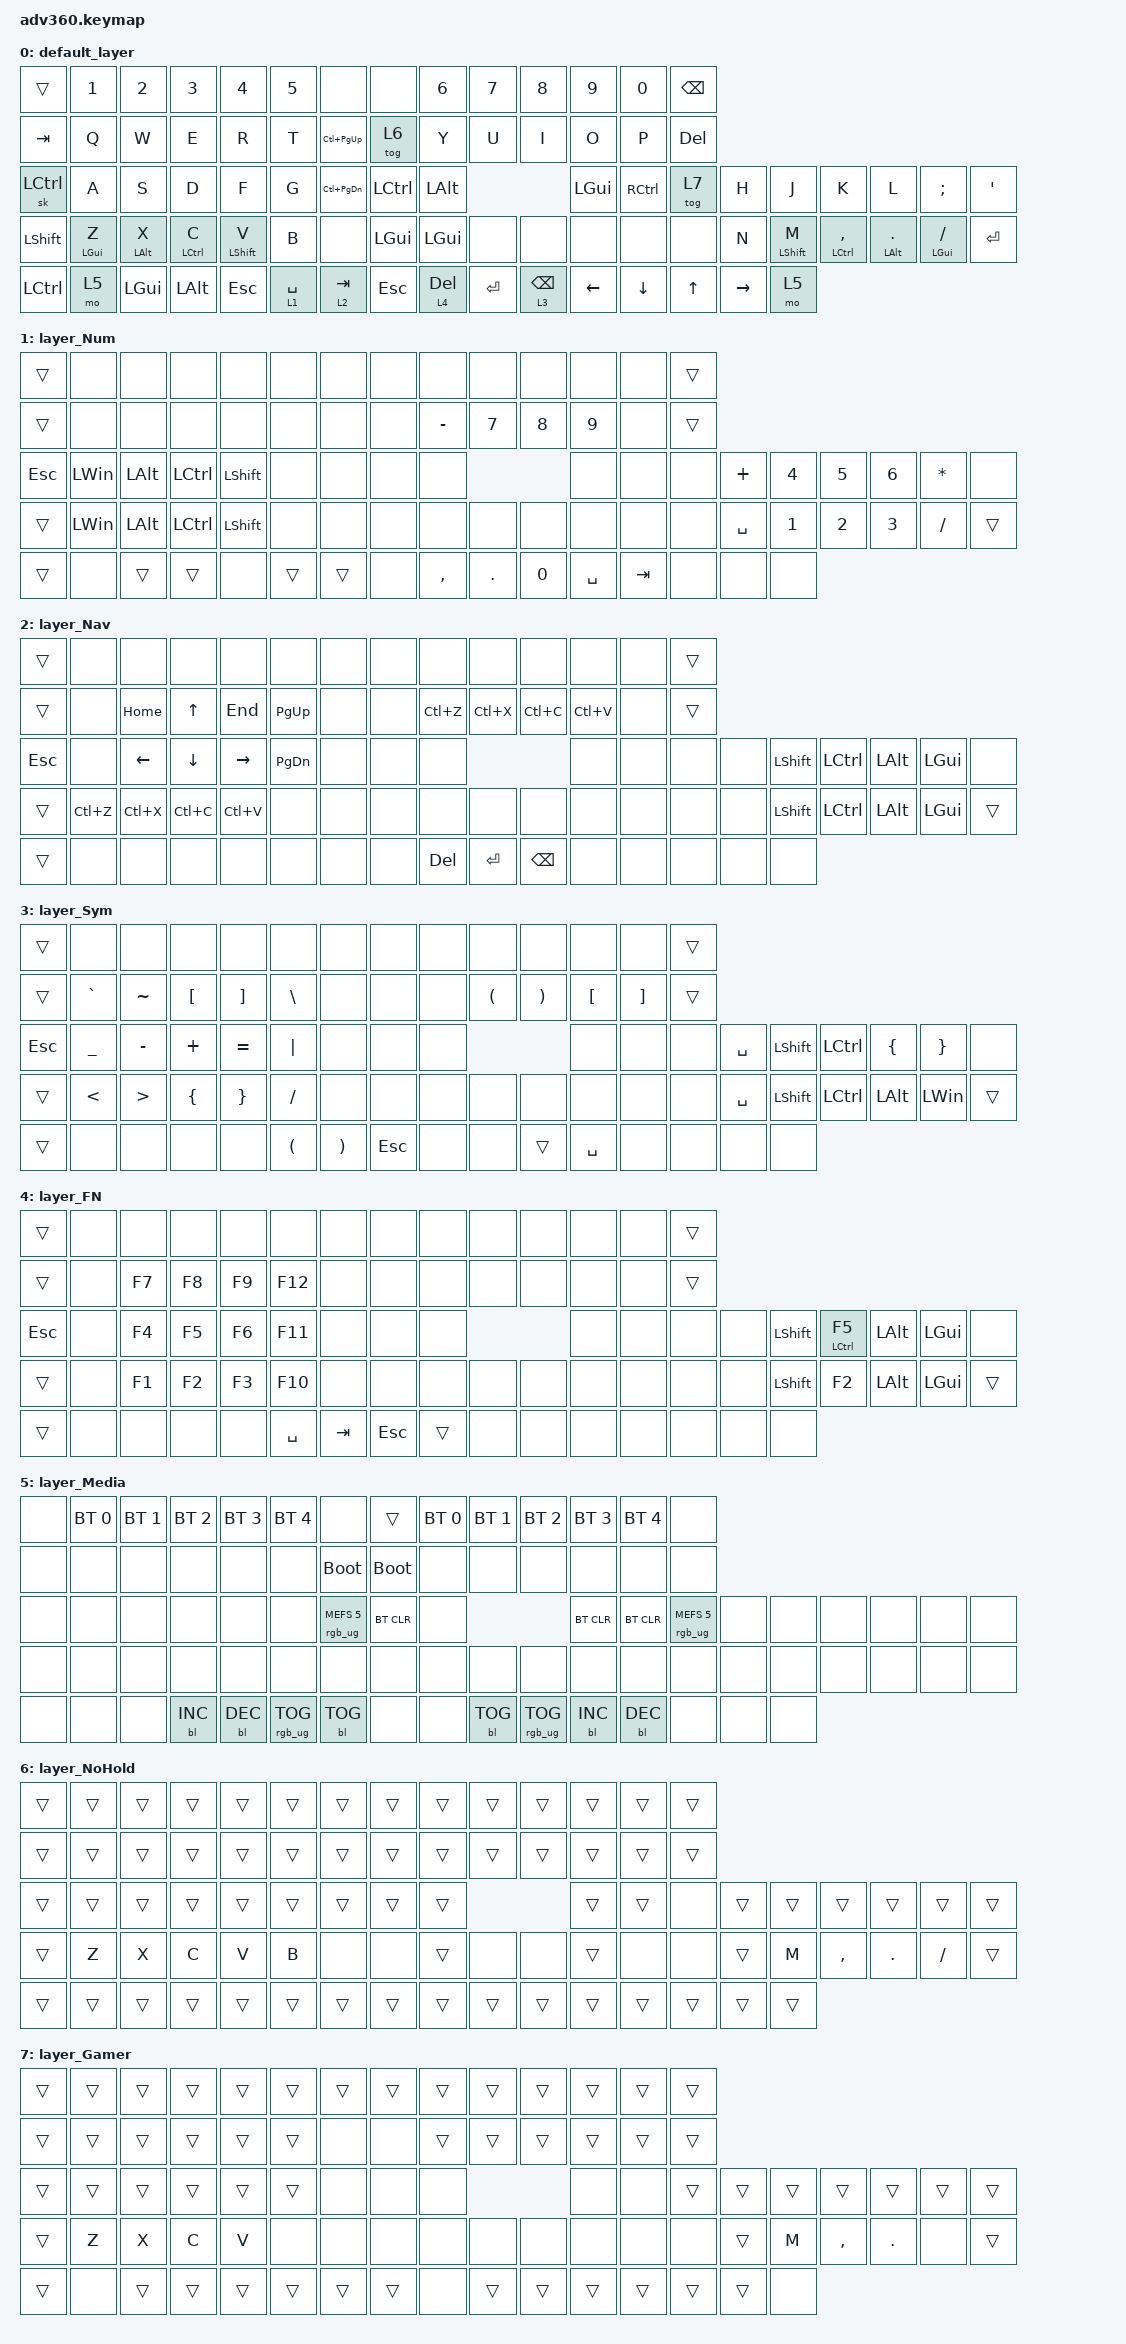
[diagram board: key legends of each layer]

/*
 * Copyright (c) 2020 The ZMK Contributors
 *
 * SPDX-License-Identifier: MIT
 */


/* THIS FILE WAS GENERATED!
 *
 * This file was generated automatically. You may or may not want to
 * edit it directly.
 */

#include <behaviors.dtsi>
#include <dt-bindings/zmk/keys.h>
#include <dt-bindings/zmk/bt.h>
#include <dt-bindings/zmk/rgb.h>
#include <dt-bindings/zmk/backlight.h>

/ {
  behaviors {
    #include "macros.dtsi"

    hm: homerow_mods {
        compatible = "zmk,behavior-hold-tap";
        label = "HOMEROW_MODS";
        #binding-cells = <2>;
        tapping-term-ms = <300>;
        quick-tap-ms = <0>;
        flavor = "tap-preferred";
        bindings = <&kp>, <&kp>;
      };
    };

    keymap {
        compatible = "zmk,keymap";


        default_layer {
            bindings = <
    &trans          &kp N1          &kp N2              &kp N3            &kp N4       &kp N5                    &none      &none        &kp N6     &kp N7           &kp N8    &kp N9     &kp N0  &kp BACKSPACE
   &kp TAB           &kp Q           &kp W               &kp E             &kp R        &kp T            &kp LC(PG_UP)     &tog 6         &kp Y      &kp U            &kp I     &kp O      &kp P        &kp DEL
 &sk LCTRL           &kp A           &kp S               &kp D             &kp F        &kp G            &kp LC(PG_DN)  &kp LCTRL      &kp LALT                              &kp LGUI  &kp RCTRL         &tog 7      &kp H             &kp J            &kp K                &kp L            &kp SEMI    &kp SQT
 &kp LSHFT  &hm LEFT_GUI Z  &hm LEFT_ALT X  &hm LEFT_CONTROL C  &hm LEFT_SHIFT V        &kp B                    &none   &kp LGUI  &kp LEFT_GUI      &none            &none     &none      &none          &none      &kp N  &hm LEFT_SHIFT M  &hm LCTRL COMMA  &hm LEFT_ALT PERIOD  &hm LEFT_GUI SLASH  &kp ENTER
 &kp LCTRL           &mo 5    &kp LEFT_GUI        &kp LEFT_ALT           &kp ESC  &lt 1 SPACE                &lt 2 TAB    &kp ESC     &lt 4 DEL  &kp ENTER  &lt 3 BACKSPACE  &kp LEFT   &kp DOWN         &kp UP  &kp RIGHT             &mo 5
            >;
        };

        layer_Num {
            bindings = <
  &trans         &none         &none      &none       &none   &none             &none   &none      &none       &none   &none      &none    &none  &trans
  &trans         &none         &none      &none       &none   &none             &none   &none  &kp MINUS      &kp N7  &kp N8     &kp N9    &none  &trans
 &kp ESC  &kp LEFT_WIN      &kp LALT  &kp LCTRL  &kp LSHIFT   &none             &none   &none      &none                          &none    &none   &none   &kp PLUS  &kp N4  &kp N5  &kp N6  &kp ASTERISK   &none
  &trans  &kp LEFT_WIN  &kp LEFT_ALT  &kp LCTRL  &kp LSHIFT   &none             &none   &none      &none       &none   &none      &none    &none   &none  &kp SPACE  &kp N1  &kp N2  &kp N3     &kp SLASH  &trans
  &trans         &none        &trans     &trans       &none  &trans            &trans   &none  &kp COMMA  &kp PERIOD  &kp N0  &kp SPACE  &kp TAB   &none      &none   &none
            >;
        };

        layer_Nav {
            bindings = <
  &trans      &none      &none      &none      &none          &none            &none   &none       &none      &none          &none      &none   &none  &trans
  &trans      &none   &kp HOME     &kp UP    &kp END      &kp PG_UP            &none   &none   &kp LC(Z)  &kp LC(X)      &kp LC(C)  &kp LC(V)   &none  &trans
 &kp ESC      &none   &kp LEFT   &kp DOWN  &kp RIGHT  &kp PAGE_DOWN            &none   &none       &none                                &none   &none   &none   &none  &kp LSHIFT  &kp LCTRL  &kp LALT  &kp LGUI   &none
  &trans  &kp LC(Z)  &kp LC(X)  &kp LC(C)  &kp LC(V)          &none            &none   &none       &none      &none          &none      &none   &none   &none   &none  &kp LSHIFT  &kp LCTRL  &kp LALT  &kp LGUI  &trans
  &trans      &none      &none      &none      &none          &none            &none   &none  &kp DELETE  &kp ENTER  &kp BACKSPACE      &none   &none   &none   &none       &none
            >;
        };

        layer_Sym {
            bindings = <
  &trans           &none      &none             &none              &none                 &none                            &none    &none   &none                 &none                  &none             &none              &none  &trans
  &trans       &kp GRAVE  &kp TILDE  &kp LEFT_BRACKET  &kp RIGHT_BRACKET         &kp BACKSLASH                            &none    &none   &none  &kp LEFT_PARENTHESIS  &kp RIGHT_PARENTHESIS  &kp LEFT_BRACKET  &kp RIGHT_BRACKET  &trans
 &kp ESC  &kp UNDERSCORE  &kp MINUS          &kp PLUS          &kp EQUAL              &kp PIPE                            &none    &none   &none                                                          &none              &none   &none  &kp SPACE  &kp LEFT_SHIFT  &kp LCTRL  &kp LEFT_BRACE  &kp RIGHT_BRACE   &none
  &trans   &kp LESS_THAN     &kp GT    &kp LEFT_BRACE    &kp RIGHT_BRACE             &kp SLASH                            &none    &none   &none                 &none                  &none             &none              &none   &none  &kp SPACE  &kp LEFT_SHIFT  &kp LCTRL        &kp LALT         &kp LWIN  &trans
  &trans           &none      &none             &none              &none  &kp LEFT_PARENTHESIS            &kp RIGHT_PARENTHESIS  &kp ESC   &none                 &none                 &trans         &kp SPACE              &none   &none      &none           &none
            >;
        };

        layer_FN {
            bindings = <
  &trans   &none   &none   &none   &none      &none              &none    &none   &none   &none   &none   &none   &none  &trans
  &trans   &none  &kp F7  &kp F8  &kp F9    &kp F12              &none    &none   &none   &none   &none   &none   &none  &trans
 &kp ESC   &none  &kp F4  &kp F5  &kp F6    &kp F11              &none    &none   &none                   &none   &none   &none   &none  &kp LEFT_SHIFT  &mt LCTRL F5      &kp LALT  &kp LGUI   &none
  &trans   &none  &kp F1  &kp F2  &kp F3    &kp F10              &none    &none   &none   &none   &none   &none   &none   &none   &none  &kp LEFT_SHIFT        &kp F2  &kp LEFT_ALT  &kp LGUI  &trans
  &trans   &none   &none   &none   &none  &kp SPACE            &kp TAB  &kp ESC  &trans   &none   &none   &none   &none   &none   &none           &none
            >;
        };

        layer_Media {
            bindings = <
  &none  &bt BT_SEL 0  &bt BT_SEL 1  &bt BT_SEL 2  &bt BT_SEL 3     &bt BT_SEL 4                             &none       &trans  &bt BT_SEL 0  &bt BT_SEL 1     &bt BT_SEL 2  &bt BT_SEL 3  &bt BT_SEL 4                   &none
  &none         &none         &none         &none         &none            &none                       &bootloader  &bootloader         &none         &none            &none         &none         &none                   &none
  &none         &none         &none         &none         &none            &none            &rgb_ug RGB_MEFS_CMD 5   &bt BT_CLR         &none                                   &bt BT_CLR    &bt BT_CLR  &rgb_ug RGB_MEFS_CMD 5   &none   &none   &none   &none   &none   &none
  &none         &none         &none         &none         &none            &none                             &none        &none         &none         &none            &none         &none         &none                   &none   &none   &none   &none   &none   &none   &none
  &none         &none         &none    &bl BL_INC    &bl BL_DEC  &rgb_ug RGB_TOG                        &bl BL_TOG        &none         &none    &bl BL_TOG  &rgb_ug RGB_TOG    &bl BL_INC    &bl BL_DEC                   &none   &none   &none
            >;
        };

        layer_NoHold {
            bindings = <
 &trans  &trans  &trans  &trans  &trans  &trans            &trans  &trans  &trans  &trans  &trans  &trans  &trans  &trans
 &trans  &trans  &trans  &trans  &trans  &trans            &trans  &trans  &trans  &trans  &trans  &trans  &trans  &trans
 &trans  &trans  &trans  &trans  &trans  &trans            &trans  &trans  &trans                  &trans  &trans   &none  &trans  &trans     &trans      &trans     &trans  &trans
 &trans   &kp Z   &kp X   &kp C   &kp V   &kp B             &none   &none  &trans   &none   &none  &trans   &none   &none  &trans   &kp M  &kp COMMA  &kp PERIOD  &kp SLASH  &trans
 &trans  &trans  &trans  &trans  &trans  &trans            &trans  &trans  &trans  &trans  &trans  &trans  &trans  &trans  &trans  &trans
            >;
        };

        layer_Gamer {
            bindings = <
 &trans  &trans  &trans  &trans  &trans  &trans            &trans  &trans  &trans  &trans  &trans  &trans  &trans  &trans
 &trans  &trans  &trans  &trans  &trans  &trans             &none   &none  &trans  &trans  &trans  &trans  &trans  &trans
 &trans  &trans  &trans  &trans  &trans  &trans             &none   &none   &none                   &none   &none  &trans  &trans  &trans     &trans      &trans  &trans  &trans
 &trans   &kp Z   &kp X   &kp C   &kp V   &none             &none   &none   &none   &none   &none   &none   &none   &none  &trans   &kp M  &kp COMMA  &kp PERIOD   &none  &trans
 &trans   &none  &trans  &trans  &trans  &trans            &trans  &trans   &none  &trans  &trans  &trans  &trans  &trans  &trans   &none
            >;
        };

    };
};
